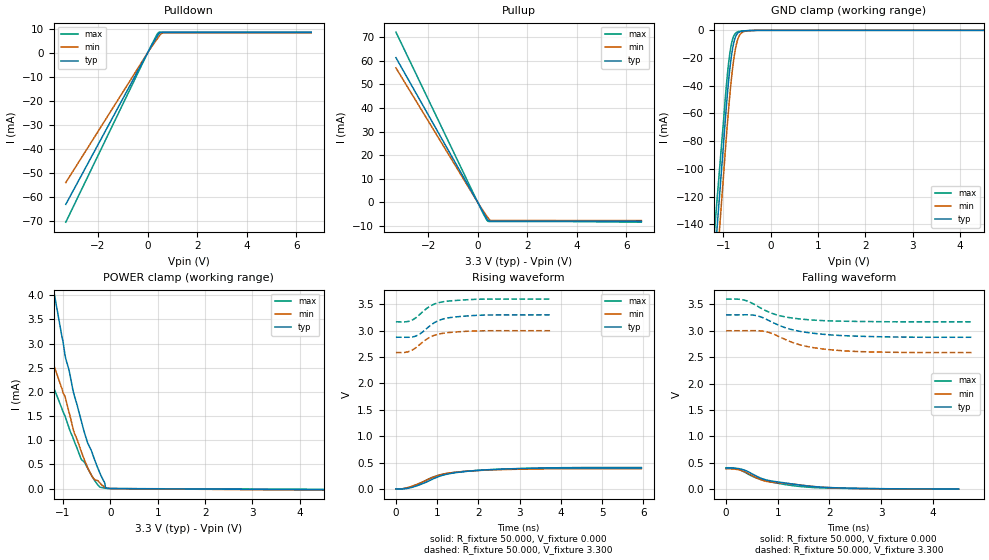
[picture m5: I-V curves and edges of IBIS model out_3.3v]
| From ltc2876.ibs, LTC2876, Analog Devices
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[Model]   out_3.3v
Model_type 3-state
Vref=0.000E+00
Rref=1.000E+06
Cref=0.000E+00
Vmeas=1.650E+00
C_comp   9.080E-13   8.810E-13   9.350E-13
[Voltage Range]   3.300E+00   3.000E+00   3.600E+00
[POWER Clamp Reference]   3.300E+00   3.000E+00   3.600E+00
[GND Clamp Reference]   0.000E+00   0.000E+00   0.000E+00
[Pullup Reference]   3.300E+00   3.000E+00   3.600E+00
[Pulldown Reference]   0.000E+00   0.000E+00   0.000E+00
[Temperature Range]   25   125   -40
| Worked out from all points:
|   slope of the pulldown table from 0 to 0.495 V, typ, clamps not added: 59.3 ohm
|   slope of the pullup table from 0 to 0.495 V, typ, clamps not added: 62.5 ohm
|   GND clamp passes 1 mA (typ) near -0.64 V on its own axis
|   POWER clamp passes 1 mA (typ) near -0.50 V on its own axis
|   rising waveform, R_fixture 50.000, V_fixture 0.000: 20-80 % time 953ps typ, 876ps min, 1.05ns max; typ from 0 V to 0.397 V
|   falling waveform, R_fixture 50.000, V_fixture 0.000: 20-80 % time 944ps typ, 1.04ns min, 831ps max; typ from 0.398 V to 0.004 V
|   rising waveform, R_fixture 50.000, V_fixture 3.300: 20-80 % time 495ps typ, 485ps min, 462ps max; typ from 2.88 V to 3.3 V
|   falling waveform, R_fixture 50.000, V_fixture 3.300: 20-80 % time 832ps typ, 802ps min, 667ps max; typ from 3.3 V to 2.88 V
[GND Clamp]
-3.3V     -1.109A    -1.167A    -1.03A
-1.02V    -93.28mA   -116.5mA   -75.94mA
-920mV    -49.04mA   -70.62mA   -34.58mA
-860mV    -27.48mA   -46.32mA   -16.42mA
-820mV    -16.73mA   -32.62mA   -8.687mA
-780mV    -9.174mA   -21.4mA    -4.229mA
-740mV    -4.585mA   -12.95mA   -2.098mA
-700mV    -2.255mA   -7.22mA    -1.158mA
-640mV    -971.5uA   -2.764mA   -617.4uA
-580mV    -529.8uA   -1.107mA   -408.8uA
-280mV    0A         0A         0A
6.6V      0A         0A         0A
[Power Clamp]
-3.3V     15.63mA    8.494mA    7.346mA
-1.02V    3.13mA     2.058mA    1.647mA
-960mV    2.773mA    1.911mA    1.505mA
-780mV    1.995mA    1.211mA    1.026mA
-620mV    1.421mA    781.3uA    617.4uA
-540mV    1.131mA    575.6uA    533.8uA
-360mV    670.6uA    216.5uA    209.5uA
-220mV    317.9uA    115.4uA    28.31uA
-120mV    119.9uA    27.11uA    8.376uA
-100mV    11.72uA    17.74uA    6.571uA
0V        0A         0A         0A
6.6V      -34.19uA   -50.59uA   -23.62uA
[Pullup]
-3.3V     61.38mA    57.04mA    72.23mA
80mV      -1.523mA   -1.352mA   -1.746mA
280mV     -5.291mA   -4.518mA   -5.923mA
400mV     -7.342mA   -6.336mA   -7.917mA
480mV     -7.911mA   -7.382mA   -8.102mA
560mV     -7.916mA   -7.692mA   -8.102mA
6.6V      -8.016mA   -7.742mA   -8.406mA
[Pulldown]
-3.3V     -63.04mA   -53.98mA   -70.48mA
0V        0A         0A         0A
420mV     7.486mA    6.304mA    8.298mA
500mV     8.391mA    7.425mA    8.63mA
580mV     8.498mA    8.191mA    8.647mA
640mV     8.502mA    8.288mA    8.647mA
6.6V      8.502mA    8.301mA    8.647mA
[Rising Waveform]
R_fixture = 50.000
V_fixture = 0.000
V_fixture_min = 0.000
V_fixture_max = 0.000
|  time   V(typ)   V(min)   V(max)
0s        441.5uV    640.7uV    313.6uV
200ps     3.492mV    10.19mV    8.376mV
400ps     33.44mV    55.6mV     50.8mV
650ps     101.5mV    133.8mV    132.9mV
1.05ns    238.9mV    262.3mV    264.9mV
1.3ns     290.7mV    303.2mV    302.7mV
1.65ns    329mV      333mV      332.3mV
2.3ns     368mV      361.1mV    365.4mV
3.15ns    389.9mV    376.9mV    389.7mV
5.95ns    396.9mV    385.9mV    406.1mV
[Falling Waveform]
R_fixture = 50.000
V_fixture = 0.000
V_fixture_min = 0.000
V_fixture_max = 0.000
|  time   V(typ)   V(min)   V(max)
0s        398.4mV    385.9mV    406.1mV
150ps     398mV      381.8mV    398.6mV
300ps     378.4mV    352.3mV    352.5mV
550ps     266.4mV    235mV      226.4mV
800ps     170.3mV    144.1mV    152.4mV
1.15ns    117mV      111.1mV    86.93mV
1.5ns     69.44mV    71.44mV    45.15mV
1.9ns     35.2mV     35.05mV    23.33mV
2.45ns    17.82mV    15.38mV    12.61mV
4.5ns     3.722mV    640.7uV    313.6uV
[Rising Waveform]
R_fixture = 50.000
V_fixture = 3.300
V_fixture_min = 3.000
V_fixture_max = 3.600
|  time   V(typ)   V(min)   V(max)
0s        2.877V     2.586V     3.169V
300ps     2.876V     2.602V     3.176V
500ps     2.904V     2.689V     3.256V
600ps     2.949V     2.753V     3.324V
850ps     3.108V     2.886V     3.475V
1ns       3.181V     2.929V     3.524V
1.15ns    3.223V     2.952V     3.55V
1.45ns    3.262V     2.976V     3.573V
2.05ns    3.294V     2.998V     3.597V
3.75ns    3.3V       3V         3.6V
[Falling Waveform]
R_fixture = 50.000
V_fixture = 3.300
V_fixture_min = 3.000
V_fixture_max = 3.600
|  time   V(typ)   V(min)   V(max)
0s        3.3V       3V         3.6V
350ps     3.302V     3.001V     3.581V
550ps     3.293V     3.002V     3.497V
750ps     3.231V     2.987V     3.389V
950ps     3.136V     2.923V     3.309V
1.15ns    3.057V     2.833V     3.261V
1.5ns     2.978V     2.716V     3.217V
1.9ns     2.932V     2.652V     3.191V
2.5ns     2.898V     2.609V     3.177V
4.75ns    2.877V     2.586V     3.169V
[Ramp]
dV/dt_r   2.3682E-01/9.4805E-10   2.3098E-01/8.7501E-10   2.4149E-01/1.0450E-09
dV/dt_f   2.5412E-01/8.3174E-10   2.4828E-01/8.0074E-10   2.5846E-01/6.6614E-10
R_load = 50
